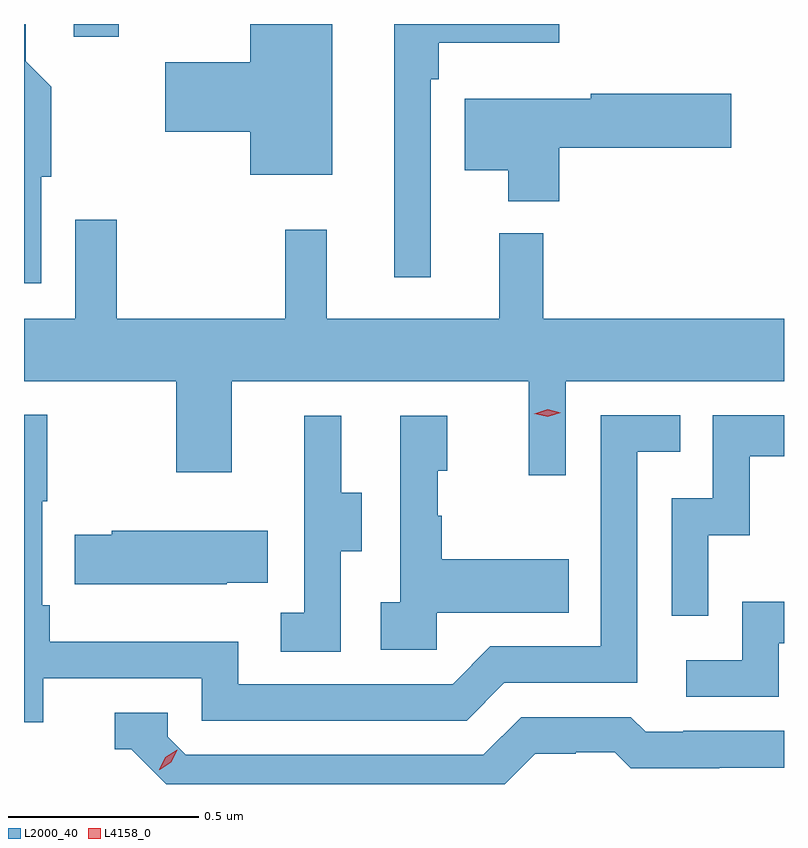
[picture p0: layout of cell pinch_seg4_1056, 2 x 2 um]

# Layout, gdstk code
import gdstk
lib = gdstk.Library(unit=1e-6, precision=1e-09)
def R(c, l, rs):  # rectangles x0, y0, x1, y1
    for r in rs: c.add(gdstk.rectangle(r[:2], r[2:], *l))
def P(c, l, *ps):  # polygons
    for p in ps: c.add(gdstk.Polygon(p, *l))
L2000_40 = (2000, 40)
L4158_0 = (4158, 0)

pinch_seg4_1056 = lib.new_cell('pinch_seg4_1056')
R(pinch_seg4_1056, L2000_40, [(806.693,764.427,806.811,764.46)])
P(pinch_seg4_1056, L2000_40, [(806.608,764.058),(806.634,764.058),(806.634,764.295),(806.567,764.362),(806.567,764.46),(806.562,764.46),(806.562,763.778),(806.608,763.778)],
  [(807.373,764.46),(807.158,764.46),(807.158,764.36),(806.934,764.36),(806.934,764.177),(807.158,764.177),(807.158,764.063),(807.373,764.063)],
  [(807.633,764.315),(807.653,764.315),(807.653,764.411),(807.97,764.411),(807.97,764.46),(807.536,764.46),(807.536,763.794),(807.633,763.794)],
  [(807.971,764.134),(808.423,764.134),(808.423,764.276),(808.054,764.276),(808.054,764.263),(807.722,764.263),(807.722,764.075),(807.836,764.075),(807.836,763.994),(807.971,763.994)],
  [(807.929,763.909),(807.812,763.909),(807.812,763.684),(807.359,763.684),(807.359,763.918),(807.249,763.918),(807.249,763.684),(806.806,763.684),(806.806,763.945),(806.697,763.945),(806.697,763.684),(806.562,763.684),(806.562,763.52),(806.962,763.52),(806.962,763.281),(807.109,763.281),(807.109,763.52),(807.89,763.52),(807.89,763.272),(807.987,763.272),(807.987,763.52),(808.562,763.52),(808.562,763.684),(807.929,763.684)],
  [(806.612,762.738),(807.03,762.738),(807.03,762.627),(807.727,762.627),(807.826,762.726),(808.176,762.726),(808.176,763.335),(808.289,763.335),(808.289,763.431),(808.08,763.431),(808.08,762.822),(807.789,762.822),(807.69,762.723),(807.126,762.723),(807.126,762.835),(806.63,762.835),(806.63,762.931),(806.61,762.931),(806.61,763.204),(806.623,763.204),(806.623,763.432),(806.562,763.432),(806.562,762.622),(806.612,762.622)],
  [(808.362,763.115),(808.472,763.115),(808.472,763.323),(808.562,763.323),(808.562,763.431),(808.374,763.431),(808.374,763.212),(808.266,763.212),(808.266,762.903),(808.362,762.903)],
  [(807.396,763.072),(807.451,763.072),(807.451,763.227),(807.397,763.227),(807.397,763.429),(807.299,763.429),(807.299,763.215),(807.3,763.215),(807.3,762.911),(807.237,762.911),(807.237,762.808),(807.396,762.808)],
  [(807.648,762.911),(807.995,762.911),(807.995,763.051),(807.661,763.051),(807.661,763.166),(807.651,763.166),(807.651,763.284),(807.676,763.284),(807.676,763.429),(807.552,763.429),(807.552,762.938),(807.501,762.938),(807.501,762.813),(807.648,762.813)],
  [(807.095,762.989),(807.203,762.989),(807.203,763.126),(806.793,763.126),(806.793,763.116),(806.695,763.116),(806.695,762.986),(807.095,762.986)],
  [(808.548,762.831),(808.562,762.831),(808.562,762.94),(808.452,762.94),(808.452,762.786),(808.305,762.786),(808.305,762.69),(808.548,762.69)],
  [(807.907,762.54),(808.014,762.54),(808.014,762.543),(808.117,762.543),(808.159,762.501),(808.392,762.501),(808.392,762.503),(808.562,762.503),(808.562,762.6),(808.297,762.6),(808.297,762.597),(808.198,762.597),(808.159,762.636),(807.87,762.636),(807.771,762.537),(806.988,762.537),(806.94,762.585),(806.94,762.648),(806.801,762.648),(806.801,762.552),(806.844,762.552),(806.936,762.46),(807.827,762.46)])
P(pinch_seg4_1056, L4158_0, [(807.94,763.426),(807.905,763.435),(807.904,763.435),(807.905,763.435),(807.94,763.446),(807.975,763.437),(807.975,763.437),(807.975,763.437)],
  [(806.918,762.497),(806.918,762.498),(806.934,762.53),(806.965,762.55),(806.965,762.55),(806.965,762.55),(806.949,762.517),(806.919,762.497)])

lib.write_gds('pinch_seg4_1056.gds')
